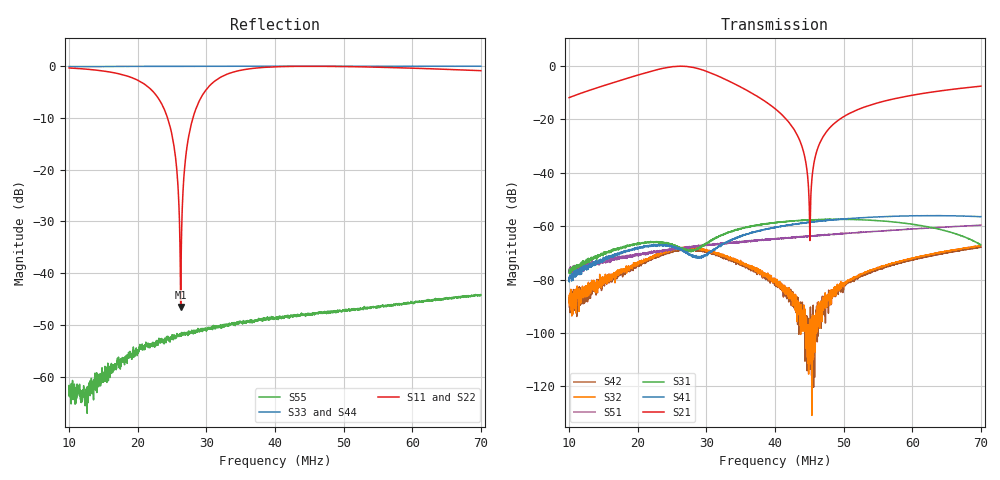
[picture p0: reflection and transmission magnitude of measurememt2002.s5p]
#  HZ  S  RI  R  50.00
! Rohde & Schwarz ZVT8 8Ports - Version 4.11 - 1300.0000k08 SN: 100242
! Date: 2026-07-06 11:27:55
! Measurements: S11 S12 S13 S14 S15 S21 S22 S23 S24 S25 S31 S32 S33 S34 S35 S41 S42 S43 S44 S45 S51 S52 S53 S54 S55
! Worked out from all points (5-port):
!   3001 points, 10 MHz to 70 MHz, reference 50 ohm
!   strongest paths, dB at 10 MHz, 25 MHz, 40 MHz, 55 MHz, 70 MHz:
!     S21: -11.8, -0.3, -16.0, -13.8, -7.5
!     S41: -79.1, -67.8, -60.4, -56.5, -56.4
!     S31: -77.6, -66.6, -58.6, -57.9, -67.0
!     S51: -76.9, -68.5, -64.8, -61.9, -59.6
!     S32: -88.7, -68.9, -79.5, -75.7, -67.2
!     S42: -86.7, -69.8, -80.7, -76.1, -67.8
!   lowest |S11| = -46.5 dB at 26.26 MHz (marker M1), VSWR 1.01, Z = 50.3 + j0.394 ohm
!   |S11| at or under -10 dB: 24.34 MHz to 28.04 MHz (3.703 MHz wide, 14.1 % of centre)
